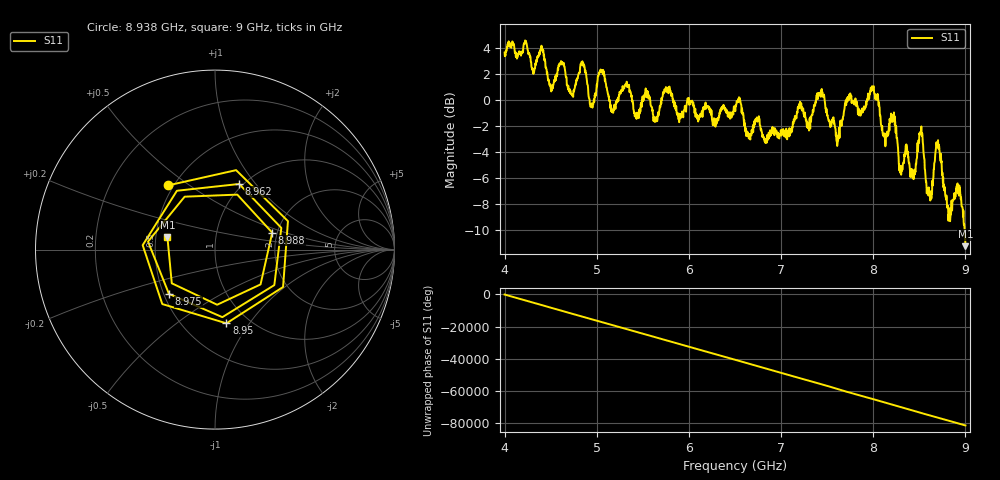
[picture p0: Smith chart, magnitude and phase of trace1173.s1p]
! Created with skrf 1.8.0 (http://scikit-rf.org).
# Hz S RI R 50.0
!freq ReS11 ImS11
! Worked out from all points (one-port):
!   1601 points, 4 GHz to 9 GHz, reference 50 ohm
!   lowest |S11| = -11.2 dB at 9 GHz (marker M1), VSWR 1.76, Z = 28.8 + j4.36 ohm
!   |S11| at or under -10 dB: 8.991794 GHz to end of sweep
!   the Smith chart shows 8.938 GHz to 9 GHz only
!   S11 on the Smith chart (normalised r, x): 8.938 GHz: 0.47, +0.42; 8.95 GHz: 0.79, -0.79; 8.962 GHz: 0.96, +0.83; 8.975 GHz: 0.53, -0.30; 8.988 GHz: 1.88, +0.40; 9 GHz: 0.58, +0.09
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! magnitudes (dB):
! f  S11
! 4 GHz  3.7
! 4.403 GHz  4.0
! 4.509 GHz  0.8
! 4.625 GHz  2.9
! 4.731 GHz  0.4
! 4.85 GHz  2.7
! 4.941 GHz  -0.3
! 5.047 GHz  2.2
! 5.25 GHz  0.6
! 5.875 GHz  -1.2
! 6.5 GHz  -0.6
! 7.125 GHz  -2.1
! 7.428 GHz  0.5
! 7.616 GHz  -3.0
! 7.75 GHz  0.5
! 7.994 GHz  0.9
! 8.375 GHz  -4.0
! 8.438 GHz  -6.1
! 8.516 GHz  -2.4
! 8.612 GHz  -7.1
! 8.7 GHz  -3.4
! 8.822 GHz  -9.1
! 8.938 GHz  -7.1
! 8.95 GHz  -7.6
! 8.962 GHz  -8.2
! 8.975 GHz  -9.0
! 8.988 GHz  -9.6
! 9 GHz  -11.2
